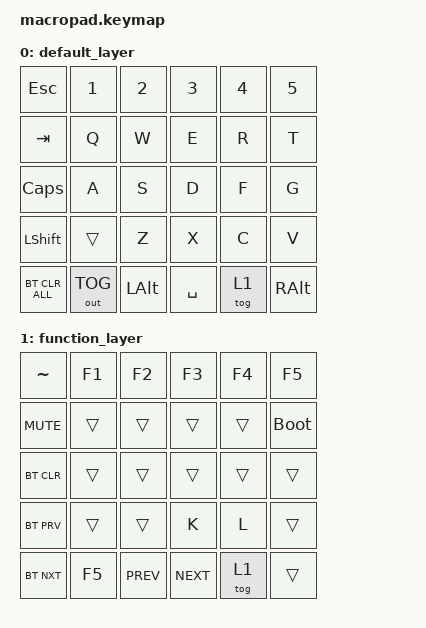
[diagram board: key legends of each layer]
/*
 * Copyright (c) 2020 The ZMK Contributors
 *
 * +++ DE VERIFICAT :
 * SPDX-License-Identifier: MIT
 * #include <dt-bindings/zmk/rgb.h>
 * #include <dt-bindings/zmk/ext_power.h>
 * #include <dt-bindings/zmk/outputs.h>
 */

#include <behaviors.dtsi>
#include <dt-bindings/zmk/keys.h>
#include <dt-bindings/zmk/bt.h>
#include <dt-bindings/zmk/outputs.h>

/ {
    /*
	sensors: sensors {
        compatible = "zmk,keymap-sensors";
        sensors = <&encoder_1>;
        triggers-per-rotation = <20>;
    };
	*/

    keymap {
        compatible = "zmk,keymap";

        default_layer {
//            display-name = "Layer_0";

//            sensor-bindings = <&inc_dec_kp C_VOLUME_UP C_VOLUME_DOWN>;

            bindings = <
&kp ESC         &kp N1          &kp N2      &kp N3    &kp N4    &kp N5
&kp TAB         &kp Q           &kp W       &kp E     &kp R     &kp T
&kp CLCK        &kp A           &kp S       &kp D     &kp F     &kp G
&kp LSHFT       &trans          &kp Z       &kp X     &kp C     &kp V
&bt BT_CLR_ALL  &out OUT_TOG    &kp LALT    &kp SPACE &tog 1    &kp RALT
            >;
        };
        function_layer {
//            display-name = "Function";

//            sensor-bindings = <&inc_dec_kp C_VOLUME_UP C_VOLUME_DOWN>;

            bindings = <
&kp TILDE   &kp F1    &kp F2      &kp F3      &kp F4    &kp F5
&kp C_MUTE  &trans    &trans      &trans      &trans    &bootloader
&bt BT_CLR  &trans    &trans      &trans      &trans    &trans
&bt BT_PRV  &trans    &trans      &kp K       &kp L     &trans
&bt BT_NXT  &kp F5    &kp C_PREV  &kp C_NEXT  &tog 1    &trans
            >;
        };
    };
};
